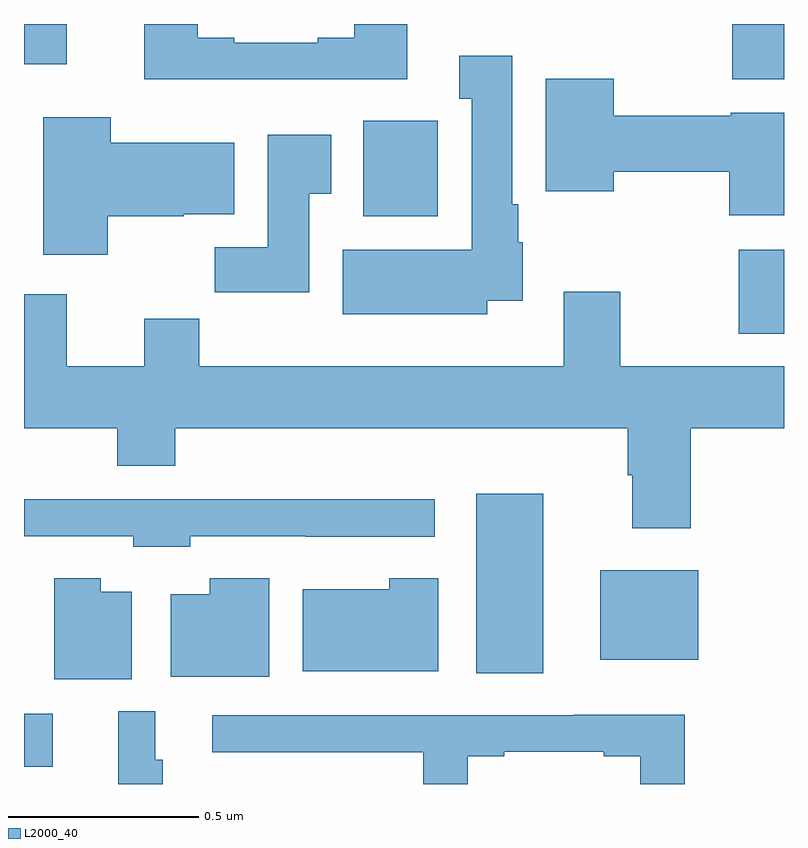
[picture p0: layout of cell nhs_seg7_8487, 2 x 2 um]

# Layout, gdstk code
import gdstk
lib = gdstk.Library(unit=1e-6, precision=1e-09)
def R(c, l, rs):  # rectangles x0, y0, x1, y1
    for r in rs: c.add(gdstk.rectangle(r[:2], r[2:], *l))
def P(c, l, *ps):  # polygons
    for p in ps: c.add(gdstk.Polygon(p, *l))
L2000_40 = (2000, 40)

nhs_seg7_8487 = lib.new_cell('nhs_seg7_8487')
R(nhs_seg7_8487, L2000_40, [(225,1013.045,225.076,1013.185), (226.19,1013.291,226.366,1013.764), (226.517,1013.327,226.774,1013.563), (226.881,1014.185,227,1014.406), (225.893,1014.494,226.089,1014.745), (226.864,1014.854,227,1015), (225,1014.894,225.112,1015)])
P(nhs_seg7_8487, L2000_40, [(226.009,1015),(225.869,1015),(225.869,1014.964),(225.773,1014.964),(225.773,1014.951),(225.553,1014.951),(225.553,1014.964),(225.457,1014.964),(225.457,1015),(225.317,1015),(225.317,1014.854),(226.009,1014.854)],
  [(226.219,1014.272),(226.312,1014.272),(226.312,1014.426),(226.3,1014.426),(226.3,1014.526),(226.285,1014.526),(226.285,1014.916),(226.145,1014.916),(226.145,1014.803),(226.178,1014.803),(226.178,1014.406),(225.839,1014.406),(225.839,1014.236),(226.219,1014.236)],
  [(227,1014.766),(226.86,1014.766),(226.86,1014.758),(226.552,1014.758),(226.552,1014.856),(226.373,1014.856),(226.373,1014.56),(226.552,1014.56),(226.552,1014.611),(226.856,1014.611),(226.856,1014.497),(227,1014.497)],
  [(225.22,1014.494),(225.42,1014.494),(225.42,1014.5),(225.553,1014.5),(225.553,1014.688),(225.228,1014.688),(225.228,1014.754),(225.05,1014.754),(225.05,1014.393),(225.22,1014.393)],
  [(225.751,1014.553),(225.808,1014.553),(225.808,1014.709),(225.641,1014.709),(225.641,1014.412),(225.502,1014.412),(225.502,1014.294),(225.751,1014.294)],
  [(225,1014.289),(225,1013.936),(225.245,1013.936),(225.245,1013.837),(225.398,1013.837),(225.398,1013.936),(226.589,1013.936),(226.589,1013.813),(226.601,1013.813),(226.601,1013.673),(226.754,1013.673),(226.754,1013.936),(227,1013.936),(227,1014.1),(226.569,1014.1),(226.569,1014.295),(226.421,1014.295),(226.421,1014.1),(225.461,1014.1),(225.461,1014.224),(225.317,1014.224),(225.317,1014.1),(225.112,1014.1),(225.112,1014.289)],
  [(225.438,1013.652),(225.742,1013.652),(225.742,1013.651),(226.081,1013.651),(226.081,1013.75),(225,1013.75),(225,1013.652),(225.288,1013.652),(225.288,1013.624),(225.438,1013.624)],
  [(225.283,1013.506),(225.202,1013.506),(225.202,1013.542),(225.08,1013.542),(225.08,1013.276),(225.283,1013.276)],
  [(225.646,1013.542),(225.489,1013.542),(225.489,1013.5),(225.386,1013.5),(225.386,1013.282),(225.646,1013.282)],
  [(226.09,1013.542),(225.961,1013.542),(225.961,1013.512),(225.734,1013.512),(225.734,1013.297),(226.09,1013.297)],
  [(225.365,1013.064),(225.346,1013.064),(225.346,1013.191),(225.248,1013.191),(225.248,1013),(225.365,1013)],
  [(226.168,1013.073),(226.264,1013.073),(226.264,1013.085),(226.526,1013.085),(226.526,1013.073),(226.622,1013.073),(226.622,1013),(226.739,1013),(226.739,1013.182),(226.447,1013.182),(226.447,1013.181),(225.495,1013.181),(225.495,1013.084),(226.051,1013.084),(226.051,1013),(226.168,1013)])

lib.write_gds('nhs_seg7_8487.gds')
